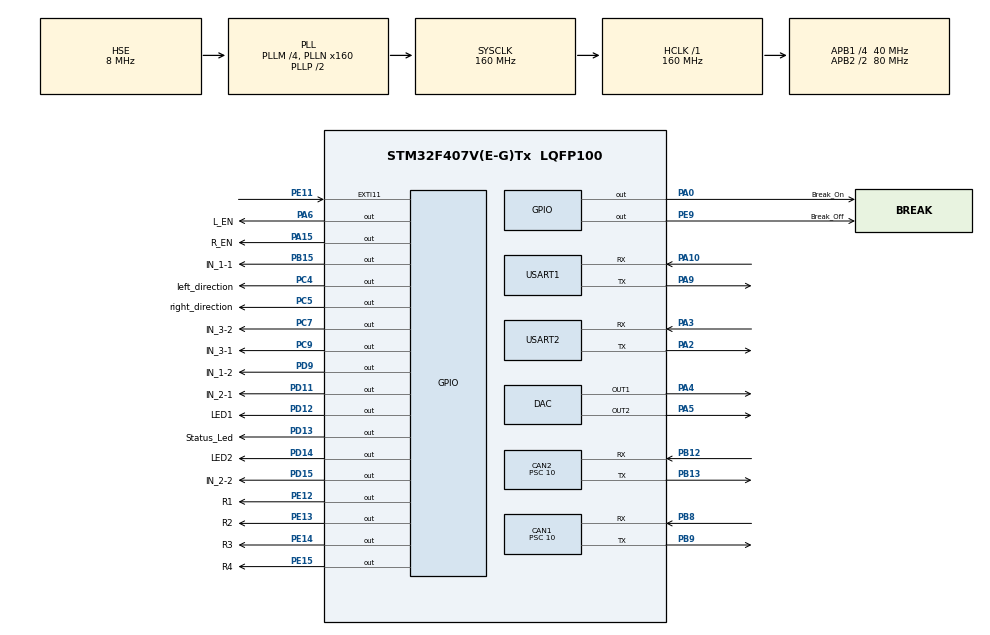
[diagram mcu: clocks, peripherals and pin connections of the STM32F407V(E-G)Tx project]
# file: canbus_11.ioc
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CAN1.BS1=CAN_BS1_8TQ
CAN1.BS2=CAN_BS2_7TQ
CAN1.CalculateBaudRate=250000
CAN1.CalculateTimeBit=4000
CAN1.CalculateTimeQuantum=250.0
CAN1.Prescaler=10
CAN2.BS1=CAN_BS1_8TQ
CAN2.BS2=CAN_BS2_7TQ
CAN2.CalculateBaudRate=250000
CAN2.CalculateTimeBit=4000
CAN2.CalculateTimeQuantum=250.0
CAN2.Prescaler=10
Mcu.Family=STM32F4
Mcu.Name=STM32F407V(E-G)Tx
Mcu.Package=LQFP100
NVIC.CAN1_RX0_IRQn=true\:0\:0\:false\:false\:true\:true\:true\:true
NVIC.CAN1_RX1_IRQn=true\:0\:0\:false\:false\:true\:true\:true\:true
NVIC.CAN1_TX_IRQn=true\:0\:0\:false\:false\:true\:true\:true\:true
NVIC.CAN2_RX0_IRQn=true\:0\:0\:false\:false\:true\:true\:true\:true
NVIC.CAN2_RX1_IRQn=true\:0\:0\:false\:false\:true\:true\:true\:true
NVIC.CAN2_TX_IRQn=true\:0\:0\:false\:false\:true\:true\:true\:true
NVIC.EXTI15_10_IRQn=true\:0\:0\:false\:false\:true\:true\:true\:true
NVIC.PriorityGroup=NVIC_PRIORITYGROUP_0
NVIC.RCC_IRQn=true\:0\:0\:false\:false\:true\:true\:false\:true
NVIC.TIM2_IRQn=true\:0\:0\:false\:false\:true\:true\:true\:true
NVIC.TIM3_IRQn=true\:0\:0\:false\:false\:true\:true\:true\:true
NVIC.TIM4_IRQn=true\:0\:0\:false\:false\:true\:true\:true\:true
NVIC.TIM6_DAC_IRQn=true\:0\:0\:false\:false\:true\:true\:true\:true
NVIC.USART1_IRQn=true\:0\:0\:false\:false\:true\:true\:true\:true
NVIC.USART2_IRQn=true\:0\:0\:false\:false\:true\:true\:true\:true
PA0-WKUP.GPIO_Label=Break_On
PA0-WKUP.Signal=GPIO_Output
PA10.Mode=Asynchronous
PA10.Signal=USART1_RX
PA13.Mode=Serial_Wire
PA13.Signal=SYS_JTMS-SWDIO
PA14.Mode=Serial_Wire
PA14.Signal=SYS_JTCK-SWCLK
PA15.GPIO_Label=R_EN
PA15.Signal=GPIO_Output
PA2.Mode=Asynchronous
PA2.Signal=USART2_TX
PA3.Mode=Asynchronous
PA3.Signal=USART2_RX
PA4.Signal=COMP_DAC1_group
PA5.Signal=COMP_DAC2_group
PA6.GPIO_Label=L_EN
PA6.Signal=GPIO_Output
PA9.Mode=Asynchronous
PA9.Signal=USART1_TX
PB12.Mode=CAN_Activate
PB12.Signal=CAN2_RX
PB13.Mode=CAN_Activate
PB13.Signal=CAN2_TX
PB15.GPIO_Label=IN_1-1
PB15.Signal=GPIO_Output
PB8.Mode=CAN_Activate
PB8.Signal=CAN1_RX
PB9.Mode=CAN_Activate
PB9.Signal=CAN1_TX
PC4.GPIO_Label=left_direction
PC4.Signal=GPIO_Output
PC5.GPIO_Label=right_direction
PC5.Signal=GPIO_Output
PC7.GPIO_Label=IN_3-2
PC7.Signal=GPIO_Output
PC9.GPIO_Label=IN_3-1
PC9.Signal=GPIO_Output
PD11.GPIO_Label=IN_2-1
PD11.Signal=GPIO_Output
PD12.GPIO_Label=LED1
PD12.Signal=GPIO_Output
PD13.GPIO_Label=Status_Led
PD13.Signal=GPIO_Output
PD14.GPIO_Label=LED2
PD14.Signal=GPIO_Output
PD15.GPIO_Label=IN_2-2
PD15.Signal=GPIO_Output
PD9.GPIO_Label=IN_1-2
PD9.Signal=GPIO_Output
PE11.Signal=GPXTI11
PE12.GPIO_Label=R1
PE12.Signal=GPIO_Output
PE13.GPIO_Label=R2
PE13.Signal=GPIO_Output
PE14.GPIO_Label=R3
PE14.Signal=GPIO_Output
PE15.GPIO_Label=R4
PE15.Signal=GPIO_Output
PE9.GPIO_Label=Break_Off
PE9.Signal=GPIO_Output
PH0-OSC_IN.Mode=HSE-External-Oscillator
PH0-OSC_IN.Signal=RCC_OSC_IN
PH1-OSC_OUT.Mode=HSE-External-Oscillator
PH1-OSC_OUT.Signal=RCC_OSC_OUT
ProjectManager.HeapSize=0x200
ProjectManager.StackSize=0x400
ProjectManager.TargetToolchain=STM32CubeIDE
RCC.48MHZClocksFreq_Value=45714285.71428572
RCC.AHBFreq_Value=160000000
RCC.APB1CLKDivider=RCC_HCLK_DIV4
RCC.APB1Freq_Value=40000000
RCC.APB1TimFreq_Value=80000000
RCC.APB2CLKDivider=RCC_HCLK_DIV2
RCC.APB2Freq_Value=80000000
RCC.APB2TimFreq_Value=160000000
RCC.CortexFreq_Value=160000000
RCC.HCLKFreq_Value=160000000
RCC.HSE_VALUE=8000000
RCC.HSI_VALUE=16000000
RCC.LSE_VALUE=32768
RCC.PLLM=4
RCC.PLLN=160
RCC.PLLQ=7
RCC.PLLSourceVirtual=RCC_PLLSOURCE_HSE
RCC.SYSCLKFreq_VALUE=160000000
RCC.SYSCLKSource=RCC_SYSCLKSOURCE_PLLCLK
RCC.VCOOutputFreq_Value=320000000
SH.COMP_DAC1_group.0=DAC_OUT1,DAC_OUT1
SH.COMP_DAC2_group.0=DAC_OUT2,DAC_OUT2
TIM2.AutoReloadPreload=TIM_AUTORELOAD_PRELOAD_DISABLE
TIM2.Period=999
TIM2.Prescaler=160*20-1
TIM2.TIM_MasterOutputTrigger=TIM_TRGO_RESET
TIM3.AutoReloadPreload=TIM_AUTORELOAD_PRELOAD_DISABLE
TIM3.Period=999
TIM3.Prescaler=160*20-1
TIM4.Period=999
TIM4.Prescaler=160*20-1
USART1.VirtualMode=VM_ASYNC
USART2.VirtualMode=VM_ASYNC
VP_TIM2_VS_ClockSourceINT.Mode=Internal
VP_TIM3_VS_ClockSourceINT.Mode=Internal
VP_TIM4_VS_ClockSourceINT.Mode=Internal
board=STM32F407G-DISC1

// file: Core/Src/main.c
/* USER CODE BEGIN Header */
/**
 ******************************************************************************
 * @file           : main.c
 * @brief          : Main program body
 ******************************************************************************
 * @attention
 *
 * Copyright (c) 2025 STMicroelectronics.
 * All rights reserved.
 *
 * This software is licensed under terms that can be found in the LICENSE file
 * in the root directory of this software component.
 * If no LICENSE file comes with this software, it is provided AS-IS.
 *
 ******************************************************************************
 */
/* USER CODE END Header */
#include "main.h"

/* USER CODE BEGIN Includes */
#include "stdbool.h"
#include "string.h"
#include "stdio.h"

/* USER CODE END Includes */

/* USER CODE BEGIN PTD */
#define PUTCHAR_PROTOTYPE int __io_putchar(int ch)

#define CAN_ID1 0x101
#define CAN_ID2 0x102
/* USER CODE END PTD */

CAN_HandleTypeDef hcan1;
CAN_HandleTypeDef hcan2;

DAC_HandleTypeDef hdac;

TIM_HandleTypeDef htim2;
TIM_HandleTypeDef htim3;
TIM_HandleTypeDef htim4;

UART_HandleTypeDef huart1;
UART_HandleTypeDef huart2;

/* USER CODE BEGIN PV */
volatile int16_t current_effective_speed = 0; // Motora uygulanan anlık hız

uint32_t Actuator_Feedback[2];

uint8_t received_data[8] = {0}; // Gelen veriler
uint8_t TxData[8] = {0x00, 0x00, 0x00, 0x00, 0x00, 0x00, 0x00, 0x00};

uint8_t a1[8] = {0};
uint8_t a2[8] = {0};
uint8_t a3[8] = {0};
uint8_t a4[8] = {0};

volatile uint16_t l_dac_value = 0;
volatile uint16_t r_dac_value = 0;

volatile int16_t r_s_value = 0;
volatile int16_t l_s_value = 0;

volatile int16_t i_direction_value = 0;

volatile uint16_t speed_value = 0;
volatile int16_t i_speed_value = 0;

volatile int16_t i_pivot_value = 0; // i_topuk_value = 0;
volatile int16_t s_pivot_value = 0; // s_topuk_value = 0;

volatile bool left_direction = 0;  // sola_topuk
volatile bool right_direction = 0; // saga_topuk

bool ileri_komutu = 0;

volatile int16_t effective_speed = 0;
volatile int16_t scale_value = 0;

volatile struct
{
    uint16_t speed_value;      // Byte0-1
    int16_t direction_value;  // Byte2-3
    uint8_t auto_speed_value; // Byte4
    // Byte5
    uint8_t brake_status : 1;       // fren_bilgisi
    uint8_t auto_manual_mode : 1;   // auto_manual
    uint8_t headlight_state : 1;    // far_durumu_bilgisi
    uint8_t connection_status : 1;  // baglanti_kontrol

    uint8_t reverse_direction; // Byte6
    uint8_t control_mode; // Byte7
}M100_flags_t;

volatile struct
{
    uint8_t remote_emergency : 1;   // kumanda_acil
    uint8_t mine_emergency : 1;     // mayin_acil
    uint8_t barrier_emergency : 1; // engel_acil
    uint8_t reserved : 5; // kullanılmayan bitler
} M101_data_t;

volatile struct
{
    uint16_t pivot_value; // pivot_value topuk_value
} M103_data_t;

bool m100 = 0;
bool m101 = 0;
bool m102 = 0;
bool m103 = 0;

uint32_t lastCanTick = 0;
bool canTimeout = false;

static uint32_t emergencyReleaseTime = 0;

volatile bool isInEmergencyState = false;

uint8_t break_flag = 0;

uint32_t lastDirectionChangeTime = 0;
uint8_t lastDirectionValue = 0xFF; // İlk değer varsayılan (farklı bir değer)

uint16_t mainTick = 0;
uint16_t main_Timeout = 0;
uint8_t state = 0;

volatile uint32_t last_direction_change_tick = 0;
static int16_t previous_direction_value = 0;
static uint32_t last_change_time = 0;

static uint32_t last_change_time2 = 0;

static int16_t previous_brake_value = 0;
uint32_t TxMailbox;
uint32_t TxMailbox2;

volatile uint32_t last_direction_change_tick_2 = 0;

uint32_t brake_timer = 0;
uint8_t brake_active = 0;

int16_t *TX_Ser_Val;

uint8_t brake_state = 0;
uint8_t brake_flag = 0;
uint32_t brake_timer1 = 0;
uint32_t brake_timer2 = 0;

uint32_t brake_action_start_time = 0; // Fren eyleminin başladığı zaman

static uint8_t R2_triggered = 0;
static uint8_t R2_state = 0;
static uint32_t R2_start_time = 0;

static uint8_t R1_triggered = 0;
static uint8_t R1_state = 0;
static uint32_t R1_start_time = 0;

static uint8_t R1_triggered2 = 0;
static uint8_t R1_state2 = 0;
static uint32_t R1_start_time2 = 0;

uint16_t current_torque = 0;
uint16_t current_rpm = 0;

uint8_t count = 0;
uint16_t comm_timeout = 0;

int16_t pwm_value1=0;
int16_t pwm_value2=0;
uint32_t pTxMailbox;
uint32_t pTxMailbox2;
uint32_t pTxMailbox3;
uint8_t Tx_Data[4];
uint8_t rCount[8];

CAN_TxHeaderTypeDef pTxHeader;
CAN_TxHeaderTypeDef pTxHeader2;
CAN_RxHeaderTypeDef pRxHeader;

/* USER CODE END PV */

void SystemClock_Config(void);
static void MX_GPIO_Init(void);
static void MX_CAN1_Init(void);
static void MX_DAC_Init(void);
static void MX_TIM2_Init(void);
static void MX_USART1_UART_Init(void);
static void MX_USART2_UART_Init(void);
static void MX_CAN2_Init(void);
static void MX_TIM3_Init(void);
static void MX_TIM4_Init(void);
/* USER CODE BEGIN PFP */

// it is for adc time test
/*
void HAL_ADC_ConvCpltCallback(ADC_HandleTypeDef *hadc){
		HAL_GPIO_TogglePin(GPIOD, GPIO_PIN_12);
}
*/
/* USER CODE END PFP */

/* USER CODE BEGIN 0 */
PUTCHAR_PROTOTYPE
{
    HAL_UART_Transmit(&huart2, (uint8_t *)&ch, 1, 0xFFFF);
    return ch;
}

void HAL_CAN_RxFifo0MsgPendingCallback(CAN_HandleTypeDef *hcan)
{
    HAL_CAN_GetRxMessage(&hcan1, CAN_RX_FIFO0, &pRxHeader, received_data);
    lastCanTick = HAL_GetTick();

    if (pRxHeader.StdId == 0x100)
    {
        m100 = 1;
        for (int i = 0; i < 8; i++)
            a1[i] = received_data[i];
        // 16-bit alanları LSB-first olarak birleştir
        M100_flags_t.speed_value = ((uint16_t)a1[1] << 8) | (uint16_t)a1[0];
        M100_flags_t.direction_value = ((uint16_t)a1[3] << 8) | (uint16_t)a1[2];
        M100_flags_t.auto_speed_value = a1[4];

        uint8_t flags = a1[5];

        M100_flags_t.brake_status = (flags >> 0) & 0x01;
        M100_flags_t.auto_manual_mode = (flags >> 1) & 0x01;
        M100_flags_t.headlight_state = (flags >> 3) & 0x01;
        M100_flags_t.connection_status = (flags >> 4) & 0x01;

        M100_flags_t.reverse_direction = a1[6];
        M100_flags_t.control_mode = a1[7];

        i_speed_value = M100_flags_t.speed_value;
        i_direction_value = M100_flags_t.direction_value;
        /*printf("Speed=%u Dir=%d AutoSpd=%u Brake=%u RevDir=%X CtrlMode=%X\n",
               M100_flags_t.speed_value,
			   i_direction_value,
               M100_flags_t.auto_speed_value,
               M100_flags_t.brake_status,
               M100_flags_t.reverse_direction,
               M100_flags_t.control_mode);
        HAL_CAN_AddTxMessage(&hcan2, &pTxHeader2, TxData, &TxMailbox2);
        for (uint16_t f = 0; f < 10000; f++) {
        	__asm("NOP");
       	}*/
    }
    else if (pRxHeader.StdId == 0x101)
    {
        m101 = 1;
        M101_data_t.mine_emergency = (received_data[0] >> 0) & 0x01;   //  1. bit
        M101_data_t.remote_emergency = (received_data[0] >> 1) & 0x01; //  2. bit
        M101_data_t.barrier_emergency = (received_data[0] >> 2) & 0x01;   //  3. bit
    }
    else if (pRxHeader.StdId == 0x102)
    {
        m102 = 1;
    }
    else if (pRxHeader.StdId == 0x103)
    {
        for (int i = 0; i < 8; i++)
        {
            a3[i] = received_data[i];
        }
        M103_data_t.pivot_value = ((uint8_t)a3[1] << 8) // MSB’yi üst 8 bita koy
                                  | (uint8_t)a3[0];     // LSB’yi alt 8 bita koy

        i_pivot_value = M103_data_t.pivot_value;

        m103 = 1;
    }
}

void HAL_TIM_PeriodElapsedCallback(TIM_HandleTypeDef *htim) {
	if (htim->Instance == TIM3)  // TIM2 kesmesi geldiyse
	{
		/*count++;
		if (count > 100) {
			count = 0;
			printf("sending %lu\n", lastCanTick);
		}*/
		HAL_GPIO_TogglePin(LED1_GPIO_Port, LED1_Pin);
	/*if (comm_timeout >= 500) {
			HAL_GPIO_WritePin(LED1_GPIO_Port, LED1_Pin, GPIO_PIN_SET); // Örnek LED yak
		} else {
			HAL_GPIO_WritePin(LED1_GPIO_Port, LED1_Pin, GPIO_PIN_RESET); // Normalde kapalı
		}*/
	}
	if (htim->Instance == TIM2)  // TIM3 kesmesi geldiyse
	{
		HAL_GPIO_TogglePin(LED2_GPIO_Port, LED2_Pin);
		//printf("sending toggle 2");
	}
	if (htim->Instance == TIM4)  // TIM3 kesmesi geldiyse
	{
		TxData[0] = 0x05;
		TxData[1] = 0;
	    TxData[2] = M100_flags_t.reverse_direction;
		TxData[3] = M100_flags_t.control_mode;
		TX_Ser_Val[2] = M100_flags_t.speed_value;
		TX_Ser_Val[3] = M100_flags_t.speed_value;
	    /*TxData[0] = 0x05;
	    TxData[2] = 0x00;
	    TxData[3] = 0xC0;
	    TxData[4] = 0x08;
	    TxData[5] = 0x07;
	    TxData[6] = 0x08;
	    TxData[7] = 0x07;*/
		HAL_GPIO_TogglePin(Status_Led_GPIO_Port, Status_Led_Pin);
		HAL_CAN_AddTxMessage(&hcan2, &pTxHeader2, TxData, &TxMailbox2);
		//printf("sending can message");
	}
}
/* USER CODE END 0 */

int main(void)
{

  /* MCU Configuration--------------------------------------------------------*/

  /* Reset of all peripherals, Initializes the Flash interface and the Systick. */
  HAL_Init();

  /* Configure the system clock */
  SystemClock_Config();

  /* Initialize all configured peripherals */
  MX_GPIO_Init();
  MX_CAN1_Init();
  MX_DAC_Init();
  MX_TIM2_Init();
  MX_USART1_UART_Init();
  MX_USART2_UART_Init();
  MX_CAN2_Init();
  MX_TIM3_Init();
  MX_TIM4_Init();
  /* USER CODE BEGIN 2 */
  HAL_TIM_Base_Start_IT(&htim2);
  HAL_TIM_Base_Start_IT(&htim3);
  HAL_TIM_Base_Start_IT(&htim4);
  TX_Ser_Val = (int16_t *)&TxData[0];

    pTxHeader2.ExtId = 0x10F83807;
    pTxHeader2.IDE = CAN_ID_EXT;
    pTxHeader2.RTR = CAN_RTR_DATA;
    pTxHeader2.DLC = 8;
    pTxHeader2.TransmitGlobalTime = DISABLE;

    HAL_CAN_ActivateNotification(&hcan1, CAN_IT_RX_FIFO0_MSG_PENDING);
    HAL_CAN_ActivateNotification(&hcan1, CAN_IT_TX_MAILBOX_EMPTY);
    HAL_CAN_ActivateNotification(&hcan2, CAN_IT_RX_FIFO0_MSG_PENDING);
    HAL_CAN_ActivateNotification(&hcan2, CAN_IT_TX_MAILBOX_EMPTY);

    if (HAL_CAN_Start(&hcan1) != HAL_OK)
    {
        Error_Handler();
    }
    if (HAL_CAN_Start(&hcan2) != HAL_OK)
    {
        Error_Handler();
    }
    uint8_t spPage = 0x00;

    if (HAL_CAN_AddTxMessage(&hcan1, &pTxHeader, &spPage, &pTxMailbox) != HAL_OK)
    {
        Error_Handler();
    }
    uint8_t spPager = 0x00;
    if (HAL_CAN_AddTxMessage(&hcan2, &pTxHeader, &spPager, &pTxMailbox2) != HAL_OK)
    {
        Error_Handler();
    }

    TxData[0] = 0x05;
    TxData[2] = 0x00;
    TxData[3] = 0xC0;
    TxData[4] = 0x08;
    TxData[5] = 0x07;
    TxData[6] = 0x08;
    TxData[7] = 0x07;
  /* USER CODE END 2 */

  /* Infinite loop */
    while (1)
    {

    }
}

void SystemClock_Config(void)
{
  RCC_OscInitTypeDef RCC_OscInitStruct = {0};
  RCC_ClkInitTypeDef RCC_ClkInitStruct = {0};

  /** Configure the main internal regulator output voltage
  */
  __HAL_RCC_PWR_CLK_ENABLE();
  __HAL_PWR_VOLTAGESCALING_CONFIG(PWR_REGULATOR_VOLTAGE_SCALE1);

  /** Initializes the RCC Oscillators according to the specified parameters
  * in the RCC_OscInitTypeDef structure.
  */
  RCC_OscInitStruct.OscillatorType = RCC_OSCILLATORTYPE_HSE;
  RCC_OscInitStruct.HSEState = RCC_HSE_ON;
  RCC_OscInitStruct.PLL.PLLState = RCC_PLL_ON;
  RCC_OscInitStruct.PLL.PLLSource = RCC_PLLSOURCE_HSE;
  RCC_OscInitStruct.PLL.PLLM = 4;
  RCC_OscInitStruct.PLL.PLLN = 160;
  RCC_OscInitStruct.PLL.PLLP = RCC_PLLP_DIV2;
  RCC_OscInitStruct.PLL.PLLQ = 7;
  if (HAL_RCC_OscConfig(&RCC_OscInitStruct) != HAL_OK)
  {
    Error_Handler();
  }

  /** Initializes the CPU, AHB and APB buses clocks
  */
  RCC_ClkInitStruct.ClockType = RCC_CLOCKTYPE_HCLK|RCC_CLOCKTYPE_SYSCLK
                              |RCC_CLOCKTYPE_PCLK1|RCC_CLOCKTYPE_PCLK2;
  RCC_ClkInitStruct.SYSCLKSource = RCC_SYSCLKSOURCE_PLLCLK;
  RCC_ClkInitStruct.AHBCLKDivider = RCC_SYSCLK_DIV1;
  RCC_ClkInitStruct.APB1CLKDivider = RCC_HCLK_DIV4;
  RCC_ClkInitStruct.APB2CLKDivider = RCC_HCLK_DIV2;

  if (HAL_RCC_ClockConfig(&RCC_ClkInitStruct, FLASH_LATENCY_5) != HAL_OK)
  {
    Error_Handler();
  }
}

static void MX_CAN1_Init(void)
{

  hcan1.Instance = CAN1;
  hcan1.Init.Prescaler = 10;
  hcan1.Init.Mode = CAN_MODE_NORMAL;
  hcan1.Init.SyncJumpWidth = CAN_SJW_1TQ;
  hcan1.Init.TimeSeg1 = CAN_BS1_8TQ;
  hcan1.Init.TimeSeg2 = CAN_BS2_7TQ;
  hcan1.Init.TimeTriggeredMode = DISABLE;
  hcan1.Init.AutoBusOff = DISABLE;
  hcan1.Init.AutoWakeUp = DISABLE;
  hcan1.Init.AutoRetransmission = DISABLE;
  hcan1.Init.ReceiveFifoLocked = DISABLE;
  hcan1.Init.TransmitFifoPriority = DISABLE;
  if (HAL_CAN_Init(&hcan1) != HAL_OK)
  {
    Error_Handler();
  }
  /* USER CODE BEGIN CAN1_Init 2 */

    CAN_FilterTypeDef can_filtre_yapi;

    can_filtre_yapi.FilterActivation = CAN_FILTER_ENABLE;
    can_filtre_yapi.FilterBank = 13;
    can_filtre_yapi.FilterFIFOAssignment = CAN_FILTER_FIFO0;
    can_filtre_yapi.FilterIdHigh = 0;
    can_filtre_yapi.FilterIdLow = 0;
    can_filtre_yapi.FilterMaskIdHigh = 0x0000;
    can_filtre_yapi.FilterMaskIdLow = 0x0000;
    can_filtre_yapi.FilterMode = CAN_FILTERMODE_IDMASK;
    can_filtre_yapi.FilterScale = CAN_FILTERSCALE_32BIT;
    can_filtre_yapi.SlaveStartFilterBank = 0;
    HAL_CAN_ConfigFilter(&hcan1, &can_filtre_yapi);

  /* USER CODE END CAN1_Init 2 */

}

static void MX_CAN2_Init(void)
{

  hcan2.Instance = CAN2;
  hcan2.Init.Prescaler = 10;
  hcan2.Init.Mode = CAN_MODE_NORMAL;
  hcan2.Init.SyncJumpWidth = CAN_SJW_1TQ;
  hcan2.Init.TimeSeg1 = CAN_BS1_8TQ;
  hcan2.Init.TimeSeg2 = CAN_BS2_7TQ;
  hcan2.Init.TimeTriggeredMode = DISABLE;
  hcan2.Init.AutoBusOff = DISABLE;
  hcan2.Init.AutoWakeUp = DISABLE;
  hcan2.Init.AutoRetransmission = DISABLE;
  hcan2.Init.ReceiveFifoLocked = DISABLE;
  hcan2.Init.TransmitFifoPriority = DISABLE;
  if (HAL_CAN_Init(&hcan2) != HAL_OK)
  {
    Error_Handler();
  }

}

static void MX_DAC_Init(void)
{

  DAC_ChannelConfTypeDef sConfig = {0};

  /** DAC Initialization
  */
  hdac.Instance = DAC;
  if (HAL_DAC_Init(&hdac) != HAL_OK)
  {
    Error_Handler();
  }

  /** DAC channel OUT1 config
  */
  sConfig.DAC_Trigger = DAC_TRIGGER_NONE;
  sConfig.DAC_OutputBuffer = DAC_OUTPUTBUFFER_ENABLE;
  if (HAL_DAC_ConfigChannel(&hdac, &sConfig, DAC_CHANNEL_1) != HAL_OK)
  {
    Error_Handler();
  }

  /** DAC channel OUT2 config
  */
  if (HAL_DAC_ConfigChannel(&hdac, &sConfig, DAC_CHANNEL_2) != HAL_OK)
  {
    Error_Handler();
  }

}

static void MX_TIM2_Init(void)
{

  TIM_ClockConfigTypeDef sClockSourceConfig = {0};
  TIM_MasterConfigTypeDef sMasterConfig = {0};

  htim2.Instance = TIM2;
  htim2.Init.Prescaler = 160*20-1;
  htim2.Init.CounterMode = TIM_COUNTERMODE_UP;
  htim2.Init.Period = 999;
  htim2.Init.ClockDivision = TIM_CLOCKDIVISION_DIV1;
  htim2.Init.AutoReloadPreload = TIM_AUTORELOAD_PRELOAD_DISABLE;
  if (HAL_TIM_Base_Init(&htim2) != HAL_OK)
  {
    Error_Handler();
  }
  sClockSourceConfig.ClockSource = TIM_CLOCKSOURCE_INTERNAL;
  if (HAL_TIM_ConfigClockSource(&htim2, &sClockSourceConfig) != HAL_OK)
  {
    Error_Handler();
  }
  sMasterConfig.MasterOutputTrigger = TIM_TRGO_RESET;
  sMasterConfig.MasterSlaveMode = TIM_MASTERSLAVEMODE_DISABLE;
  if (HAL_TIMEx_MasterConfigSynchronization(&htim2, &sMasterConfig) != HAL_OK)
  {
    Error_Handler();
  }

}

static void MX_TIM3_Init(void)
{

  TIM_ClockConfigTypeDef sClockSourceConfig = {0};
  TIM_MasterConfigTypeDef sMasterConfig = {0};

  htim3.Instance = TIM3;
  htim3.Init.Prescaler = 160*20-1;
  htim3.Init.CounterMode = TIM_COUNTERMODE_UP;
  htim3.Init.Period = 999;
  htim3.Init.ClockDivision = TIM_CLOCKDIVISION_DIV1;
  htim3.Init.AutoReloadPreload = TIM_AUTORELOAD_PRELOAD_DISABLE;
  if (HAL_TIM_Base_Init(&htim3) != HAL_OK)
  {
    Error_Handler();
  }
  sClockSourceConfig.ClockSource = TIM_CLOCKSOURCE_INTERNAL;
  if (HAL_TIM_ConfigClockSource(&htim3, &sClockSourceConfig) != HAL_OK)
  {
    Error_Handler();
  }
  sMasterConfig.MasterOutputTrigger = TIM_TRGO_RESET;
  sMasterConfig.MasterSlaveMode = TIM_MASTERSLAVEMODE_DISABLE;
  if (HAL_TIMEx_MasterConfigSynchronization(&htim3, &sMasterConfig) != HAL_OK)
  {
    Error_Handler();
  }

}

static void MX_TIM4_Init(void)
{

  TIM_ClockConfigTypeDef sClockSourceConfig = {0};
  TIM_MasterConfigTypeDef sMasterConfig = {0};

  htim4.Instance = TIM4;
  htim4.Init.Prescaler = 160*20-1;
  htim4.Init.CounterMode = TIM_COUNTERMODE_UP;
  htim4.Init.Period = 999;
  htim4.Init.ClockDivision = TIM_CLOCKDIVISION_DIV1;
  htim4.Init.AutoReloadPreload = TIM_AUTORELOAD_PRELOAD_DISABLE;
  if (HAL_TIM_Base_Init(&htim4) != HAL_OK)
  {
    Error_Handler();
  }
  sClockSourceConfig.ClockSource = TIM_CLOCKSOURCE_INTERNAL;
  if (HAL_TIM_ConfigClockSource(&htim4, &sClockSourceConfig) != HAL_OK)
  {
    Error_Handler();
  }
  sMasterConfig.MasterOutputTrigger = TIM_TRGO_RESET;
  sMasterConfig.MasterSlaveMode = TIM_MASTERSLAVEMODE_DISABLE;
  if (HAL_TIMEx_MasterConfigSynchronization(&htim4, &sMasterConfig) != HAL_OK)
  {
    Error_Handler();
  }

}

static void MX_USART1_UART_Init(void)
{

  huart1.Instance = USART1;
  huart1.Init.BaudRate = 115200;
  huart1.Init.WordLength = UART_WORDLENGTH_8B;
  huart1.Init.StopBits = UART_STOPBITS_1;
  huart1.Init.Parity = UART_PARITY_NONE;
  huart1.Init.Mode = UART_MODE_TX_RX;
  huart1.Init.HwFlowCtl = UART_HWCONTROL_NONE;
  huart1.Init.OverSampling = UART_OVERSAMPLING_16;
  if (HAL_UART_Init(&huart1) != HAL_OK)
  {
    Error_Handler();
  }

}

static void MX_USART2_UART_Init(void)
{

  huart2.Instance = USART2;
  huart2.Init.BaudRate = 115200;
  huart2.Init.WordLength = UART_WORDLENGTH_8B;
  huart2.Init.StopBits = UART_STOPBITS_1;
  huart2.Init.Parity = UART_PARITY_NONE;
  huart2.Init.Mode = UART_MODE_TX_RX;
  huart2.Init.HwFlowCtl = UART_HWCONTROL_NONE;
  huart2.Init.OverSampling = UART_OVERSAMPLING_16;
  if (HAL_UART_Init(&huart2) != HAL_OK)
  {
    Error_Handler();
  }

}

static void MX_GPIO_Init(void)
{
  GPIO_InitTypeDef GPIO_InitStruct = {0};

  /* GPIO Ports Clock Enable */
  __HAL_RCC_GPIOH_CLK_ENABLE();
  __HAL_RCC_GPIOA_CLK_ENABLE();
  __HAL_RCC_GPIOC_CLK_ENABLE();
  __HAL_RCC_GPIOE_CLK_ENABLE();
  __HAL_RCC_GPIOB_CLK_ENABLE();
  __HAL_RCC_GPIOD_CLK_ENABLE();

  /*Configure GPIO pin Output Level */
  HAL_GPIO_WritePin(GPIOA, Break_On_Pin|L_EN_Pin|R_EN_Pin, GPIO_PIN_RESET);

  /*Configure GPIO pin Output Level */
  HAL_GPIO_WritePin(GPIOC, left_direction_Pin|right_direction_Pin|IN_3_2_Pin|IN_3_1_Pin, GPIO_PIN_RESET);

  /*Configure GPIO pin Output Level */
  HAL_GPIO_WritePin(GPIOE, Break_Off_Pin|R1_Pin|R2_Pin|R3_Pin
                          |R4_Pin, GPIO_PIN_RESET);

  /*Configure GPIO pin Output Level */
  HAL_GPIO_WritePin(IN_1_1_GPIO_Port, IN_1_1_Pin, GPIO_PIN_RESET);

  /*Configure GPIO pin Output Level */
  HAL_GPIO_WritePin(GPIOD, IN_1_2_Pin|IN_2_1_Pin|LED1_Pin|Status_Led_Pin
                          |LED2_Pin|IN_2_2_Pin, GPIO_PIN_RESET);

  /*Configure GPIO pins : Break_On_Pin L_EN_Pin R_EN_Pin */
  GPIO_InitStruct.Pin = Break_On_Pin|L_EN_Pin|R_EN_Pin;
  GPIO_InitStruct.Mode = GPIO_MODE_OUTPUT_PP;
  GPIO_InitStruct.Pull = GPIO_NOPULL;
  GPIO_InitStruct.Speed = GPIO_SPEED_FREQ_LOW;
  HAL_GPIO_Init(GPIOA, &GPIO_InitStruct);

  /*Configure GPIO pins : left_direction_Pin right_direction_Pin IN_3_2_Pin IN_3_1_Pin */
  GPIO_InitStruct.Pin = left_direction_Pin|right_direction_Pin|IN_3_2_Pin|IN_3_1_Pin;
  GPIO_InitStruct.Mode = GPIO_MODE_OUTPUT_PP;
  GPIO_InitStruct.Pull = GPIO_NOPULL;
  GPIO_InitStruct.Speed = GPIO_SPEED_FREQ_LOW;
  HAL_GPIO_Init(GPIOC, &GPIO_InitStruct);

  /*Configure GPIO pins : Break_Off_Pin R1_Pin R2_Pin R3_Pin
                           R4_Pin */
  GPIO_InitStruct.Pin = Break_Off_Pin|R1_Pin|R2_Pin|R3_Pin
                          |R4_Pin;
  GPIO_InitStruct.Mode = GPIO_MODE_OUTPUT_PP;
  GPIO_InitStruct.Pull = GPIO_NOPULL;
  GPIO_InitStruct.Speed = GPIO_SPEED_FREQ_LOW;
  HAL_GPIO_Init(GPIOE, &GPIO_InitStruct);

  /*Configure GPIO pin : PE11 */
  GPIO_InitStruct.Pin = GPIO_PIN_11;
  GPIO_InitStruct.Mode = GPIO_MODE_IT_RISING;
  GPIO_InitStruct.Pull = GPIO_NOPULL;
  HAL_GPIO_Init(GPIOE, &GPIO_InitStruct);

  /*Configure GPIO pin : IN_1_1_Pin */
  GPIO_InitStruct.Pin = IN_1_1_Pin;
  GPIO_InitStruct.Mode = GPIO_MODE_OUTPUT_PP;
  GPIO_InitStruct.Pull = GPIO_NOPULL;
  GPIO_InitStruct.Speed = GPIO_SPEED_FREQ_LOW;
  HAL_GPIO_Init(IN_1_1_GPIO_Port, &GPIO_InitStruct);

  /*Configure GPIO pins : IN_1_2_Pin IN_2_1_Pin LED1_Pin Status_Led_Pin
                           LED2_Pin IN_2_2_Pin */
  GPIO_InitStruct.Pin = IN_1_2_Pin|IN_2_1_Pin|LED1_Pin|Status_Led_Pin
                          |LED2_Pin|IN_2_2_Pin;
  GPIO_InitStruct.Mode = GPIO_MODE_OUTPUT_PP;
  GPIO_InitStruct.Pull = GPIO_NOPULL;
  GPIO_InitStruct.Speed = GPIO_SPEED_FREQ_LOW;
  HAL_GPIO_Init(GPIOD, &GPIO_InitStruct);

  /* EXTI interrupt init*/
  HAL_NVIC_SetPriority(EXTI15_10_IRQn, 0, 0);
  HAL_NVIC_EnableIRQ(EXTI15_10_IRQn);

}

void Error_Handler(void)
{
    __disable_irq();
    while (1)
    {
    }
}
